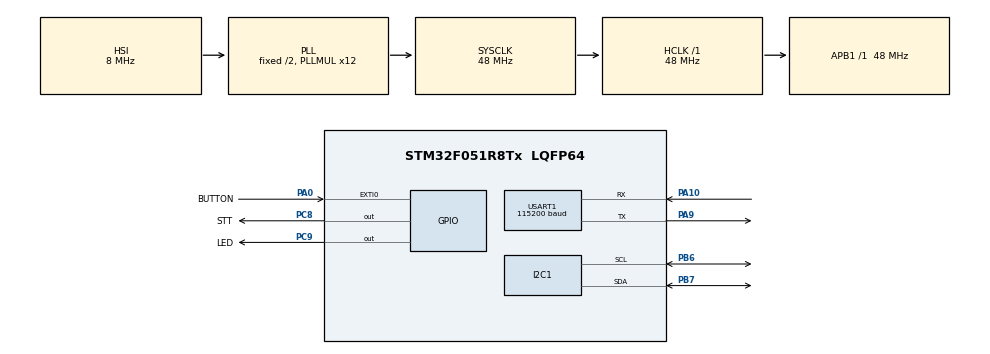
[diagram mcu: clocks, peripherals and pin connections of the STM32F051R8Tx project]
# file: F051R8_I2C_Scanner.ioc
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Mcu.Family=STM32F0
PA10.Mode=Asynchronous
PC9.GPIO_Label=LED
USART1.BaudRate=115200
PA14.GPIO_Label=SWCLK
PA0.GPIO_Label=BUTTON
PC8.Signal=GPIO_Output
RCC.SYSCLKSource=RCC_SYSCLKSOURCE_PLLCLK
ProjectManager.StackSize=0x400
PC8.GPIO_Label=STT
USART1.VirtualMode-Asynchronous=VM_ASYNC
PA13.Signal=SYS_SWDIO
PA9.Mode=Asynchronous
ProjectManager.TargetToolchain=STM32CubeIDE
RCC.HCLKFreq_Value=48000000
PA9.Signal=USART1_TX
PB6.Signal=I2C1_SCL
PB6.Mode=I2C
RCC.AHBFreq_Value=48000000
board=STM32F0DISCOVERY
RCC.PLLMUL=RCC_PLL_MUL12
PA14.Mode=Serial_Wire
PA0.GPIO_ModeDefaultEXTI=GPIO_MODE_EVT_RISING
PB7.Signal=I2C1_SDA
PA13.Mode=Serial_Wire
Mcu.Name=STM32F051R8Tx
PA13.GPIO_Label=SWDIO
PA0.Signal=GPXTI0
RCC.SYSCLKFreq_VALUE=48000000
Mcu.Package=LQFP64
PB7.Mode=I2C
PA10.Signal=USART1_RX
PA14.Signal=SYS_SWCLK
ProjectManager.HeapSize=0x200
RCC.APB1TimFreq_Value=48000000
PC9.Signal=GPIO_Output
RCC.APB1Freq_Value=48000000

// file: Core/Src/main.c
/* USER CODE BEGIN Header */
/**
  ******************************************************************************
  * @file           : main.c
  * @brief          : Main program body
  ******************************************************************************
  * @attention
  *
  * <h2><center>&copy; Copyright (c) 2021 STMicroelectronics.
  * All rights reserved.</center></h2>
  *
  * This software component is licensed by ST under BSD 3-Clause license,
  * the "License"; You may not use this file except in compliance with the
  * License. You may obtain a copy of the License at:
  *                        opensource.org/licenses/BSD-3-Clause
  *
  ******************************************************************************
  */
/* USER CODE END Header */
#include "main.h"

/* USER CODE BEGIN Includes */
#include <stdio.h>
#include <string.h>
/* USER CODE END Includes */

I2C_HandleTypeDef hi2c1;

UART_HandleTypeDef huart1;

/* USER CODE BEGIN PV */
char buffer[5] = {0}; // 0xXX\0
char start[] = "\r\nStart\r\n";
char end[] = "\r\nEnd\r\n";
char space[] = "-";
/* USER CODE END PV */

void SystemClock_Config(void);
static void MX_GPIO_Init(void);
static void MX_I2C1_Init(void);
static void MX_USART1_UART_Init(void);

int main(void)
{
  /* USER CODE BEGIN 1 */
  uint8_t i = 0;
  /* USER CODE END 1 */

  /* MCU Configuration--------------------------------------------------------*/

  /* Reset of all peripherals, Initializes the Flash interface and the Systick. */
  HAL_Init();

  /* Configure the system clock */
  SystemClock_Config();

  /* Initialize all configured peripherals */
  MX_GPIO_Init();
  MX_I2C1_Init();
  MX_USART1_UART_Init();

  /* Infinite loop */
  /* USER CODE BEGIN WHILE */

  while (1)
  {
    HAL_GPIO_TogglePin(LED_GPIO_Port, LED_Pin);
    HAL_Delay(2000);
    HAL_UART_Transmit(&huart1, (uint8_t*)start,  strlen(start), HAL_MAX_DELAY);
    for(i=1; i<128; i++) {
      if (HAL_I2C_IsDeviceReady(&hi2c1, (uint16_t)(i<<1), 5, 10) == HAL_OK) {
        sprintf(buffer, "0x%X", i<<1);
        HAL_UART_Transmit(&huart1, (uint8_t*)buffer,  strlen(buffer), HAL_MAX_DELAY);
      } else {
        HAL_UART_Transmit(&huart1, (uint8_t*)space,  strlen(space), HAL_MAX_DELAY);
      }
    }
    HAL_UART_Transmit(&huart1, (uint8_t*)end,  strlen(end), HAL_MAX_DELAY);
    /* USER CODE END WHILE */

  }
}

void SystemClock_Config(void)
{
  RCC_OscInitTypeDef RCC_OscInitStruct = {0};
  RCC_ClkInitTypeDef RCC_ClkInitStruct = {0};
  RCC_PeriphCLKInitTypeDef PeriphClkInit = {0};

  /** Initializes the RCC Oscillators according to the specified parameters
  * in the RCC_OscInitTypeDef structure.
  */
  RCC_OscInitStruct.OscillatorType = RCC_OSCILLATORTYPE_HSI;
  RCC_OscInitStruct.HSIState = RCC_HSI_ON;
  RCC_OscInitStruct.HSICalibrationValue = RCC_HSICALIBRATION_DEFAULT;
  RCC_OscInitStruct.PLL.PLLState = RCC_PLL_ON;
  RCC_OscInitStruct.PLL.PLLSource = RCC_PLLSOURCE_HSI;
  RCC_OscInitStruct.PLL.PLLMUL = RCC_PLL_MUL12;
  RCC_OscInitStruct.PLL.PREDIV = RCC_PREDIV_DIV1;
  if (HAL_RCC_OscConfig(&RCC_OscInitStruct) != HAL_OK)
  {
    Error_Handler();
  }
  /** Initializes the CPU, AHB and APB buses clocks
  */
  RCC_ClkInitStruct.ClockType = RCC_CLOCKTYPE_HCLK|RCC_CLOCKTYPE_SYSCLK
                              |RCC_CLOCKTYPE_PCLK1;
  RCC_ClkInitStruct.SYSCLKSource = RCC_SYSCLKSOURCE_PLLCLK;
  RCC_ClkInitStruct.AHBCLKDivider = RCC_SYSCLK_DIV1;
  RCC_ClkInitStruct.APB1CLKDivider = RCC_HCLK_DIV1;

  if (HAL_RCC_ClockConfig(&RCC_ClkInitStruct, FLASH_LATENCY_1) != HAL_OK)
  {
    Error_Handler();
  }
  PeriphClkInit.PeriphClockSelection = RCC_PERIPHCLK_USART1|RCC_PERIPHCLK_I2C1;
  PeriphClkInit.Usart1ClockSelection = RCC_USART1CLKSOURCE_PCLK1;
  PeriphClkInit.I2c1ClockSelection = RCC_I2C1CLKSOURCE_HSI;
  if (HAL_RCCEx_PeriphCLKConfig(&PeriphClkInit) != HAL_OK)
  {
    Error_Handler();
  }
}

static void MX_I2C1_Init(void)
{

  hi2c1.Instance = I2C1;
  hi2c1.Init.Timing = 0x2000090E;
  hi2c1.Init.OwnAddress1 = 0;
  hi2c1.Init.AddressingMode = I2C_ADDRESSINGMODE_7BIT;
  hi2c1.Init.DualAddressMode = I2C_DUALADDRESS_DISABLE;
  hi2c1.Init.OwnAddress2 = 0;
  hi2c1.Init.OwnAddress2Masks = I2C_OA2_NOMASK;
  hi2c1.Init.GeneralCallMode = I2C_GENERALCALL_DISABLE;
  hi2c1.Init.NoStretchMode = I2C_NOSTRETCH_DISABLE;
  if (HAL_I2C_Init(&hi2c1) != HAL_OK)
  {
    Error_Handler();
  }
  /** Configure Analogue filter
  */
  if (HAL_I2CEx_ConfigAnalogFilter(&hi2c1, I2C_ANALOGFILTER_ENABLE) != HAL_OK)
  {
    Error_Handler();
  }
  /** Configure Digital filter
  */
  if (HAL_I2CEx_ConfigDigitalFilter(&hi2c1, 0) != HAL_OK)
  {
    Error_Handler();
  }

}

static void MX_USART1_UART_Init(void)
{

  huart1.Instance = USART1;
  huart1.Init.BaudRate = 115200;
  huart1.Init.WordLength = UART_WORDLENGTH_8B;
  huart1.Init.StopBits = UART_STOPBITS_1;
  huart1.Init.Parity = UART_PARITY_NONE;
  huart1.Init.Mode = UART_MODE_TX_RX;
  huart1.Init.HwFlowCtl = UART_HWCONTROL_NONE;
  huart1.Init.OverSampling = UART_OVERSAMPLING_16;
  huart1.Init.OneBitSampling = UART_ONE_BIT_SAMPLE_DISABLE;
  huart1.AdvancedInit.AdvFeatureInit = UART_ADVFEATURE_NO_INIT;
  if (HAL_UART_Init(&huart1) != HAL_OK)
  {
    Error_Handler();
  }

}

static void MX_GPIO_Init(void)
{
  GPIO_InitTypeDef GPIO_InitStruct = {0};

  /* GPIO Ports Clock Enable */
  __HAL_RCC_GPIOA_CLK_ENABLE();
  __HAL_RCC_GPIOC_CLK_ENABLE();
  __HAL_RCC_GPIOB_CLK_ENABLE();

  /*Configure GPIO pin Output Level */
  HAL_GPIO_WritePin(GPIOC, STT_Pin|LED_Pin, GPIO_PIN_RESET);

  /*Configure GPIO pin : BUTTON_Pin */
  GPIO_InitStruct.Pin = BUTTON_Pin;
  GPIO_InitStruct.Mode = GPIO_MODE_EVT_RISING;
  GPIO_InitStruct.Pull = GPIO_NOPULL;
  HAL_GPIO_Init(BUTTON_GPIO_Port, &GPIO_InitStruct);

  /*Configure GPIO pins : STT_Pin LED_Pin */
  GPIO_InitStruct.Pin = STT_Pin|LED_Pin;
  GPIO_InitStruct.Mode = GPIO_MODE_OUTPUT_PP;
  GPIO_InitStruct.Pull = GPIO_NOPULL;
  GPIO_InitStruct.Speed = GPIO_SPEED_FREQ_LOW;
  HAL_GPIO_Init(GPIOC, &GPIO_InitStruct);

}

void Error_Handler(void)
{
  __disable_irq();
  while (1)
  {
  }
}

/************************ (C) COPYRIGHT STMicroelectronics *****END OF FILE****/
